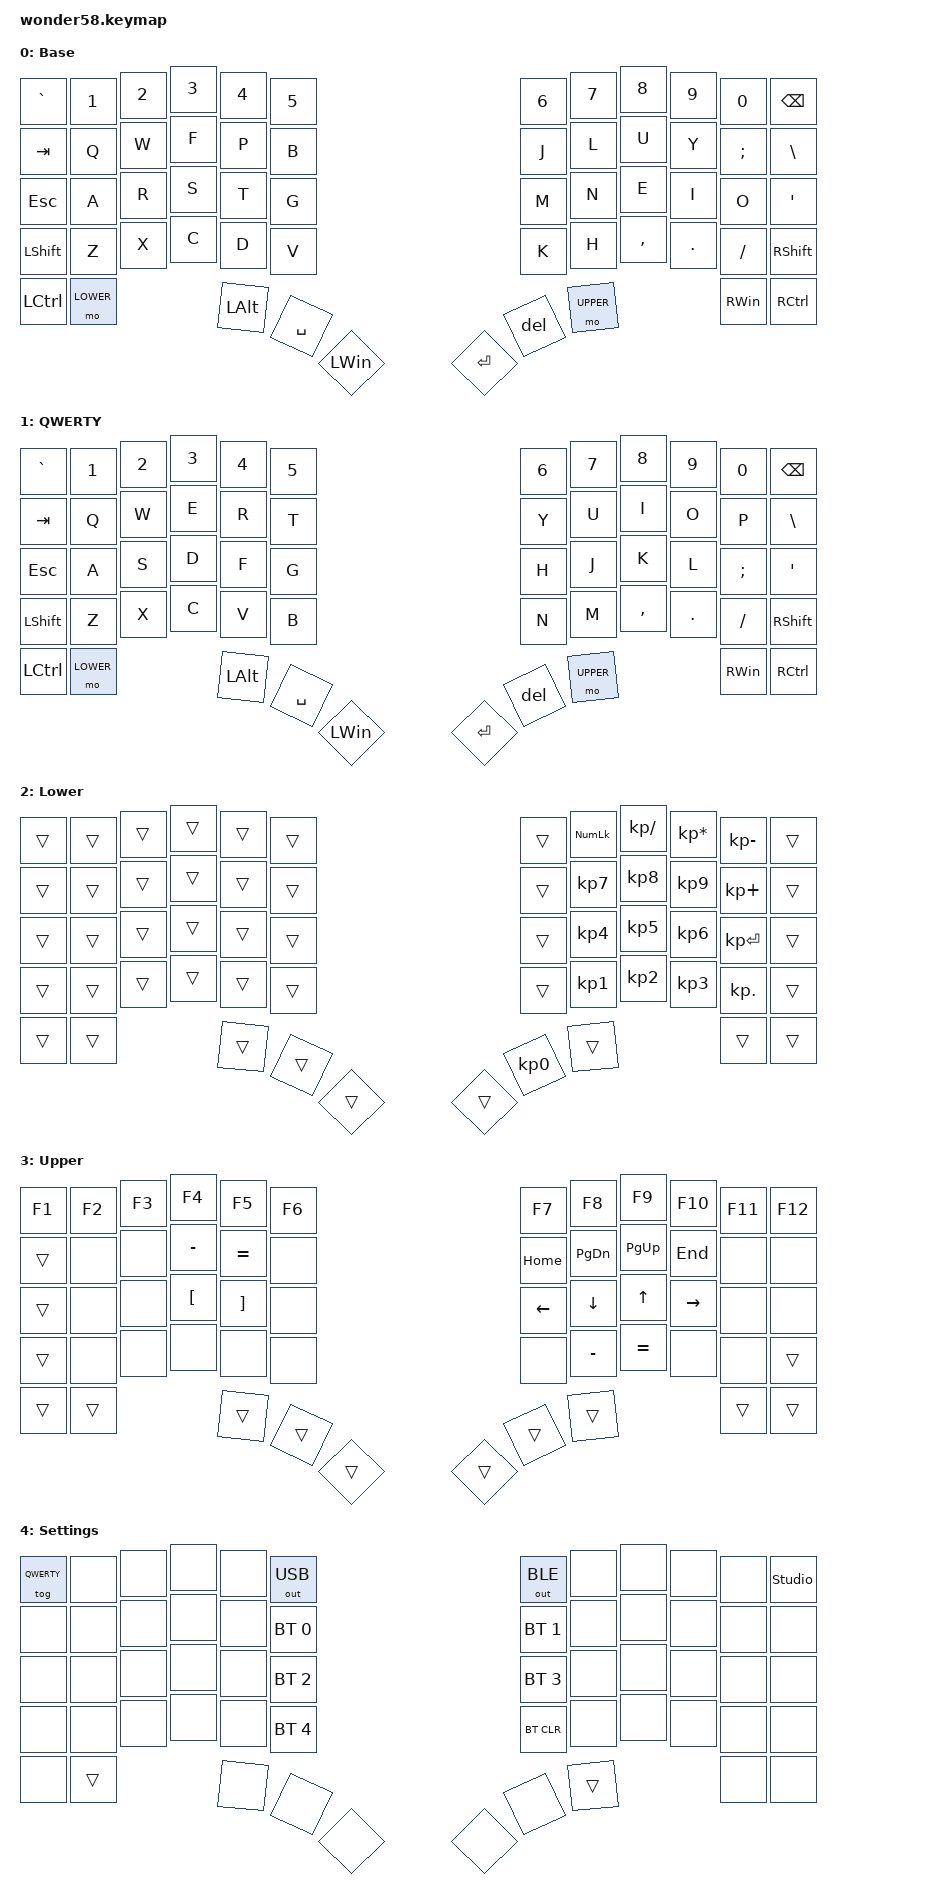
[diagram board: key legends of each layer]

#include <behaviors.dtsi>
#include <dt-bindings/zmk/keys.h>
#include <dt-bindings/zmk/bt.h>
#include <dt-bindings/zmk/ext_power.h>
#include <dt-bindings/zmk/outputs.h>

#define QWERTY 1
#define LOWER 2
#define UPPER 3
#define SETT 4

/ {
    behaviors {
        del: backspace_delete {
            compatible = "zmk,behavior-mod-morph";
            #binding-cells = <0>;
            bindings = <&kp BSPC>, <&kp DEL>;
            mods = <(MOD_LSFT|MOD_RSFT)>;
        };
    };
};

/ {
    keymap {
        compatible = "zmk,keymap";


        default_layer { // Layer 0
            display-name = "Base";
            bindings = <
                &kp GRAVE &kp N1 &kp N2 &kp N3   &kp N4    &kp N5       		&kp N6   &kp N7    &kp N8    &kp N9  &kp N0    &kp BSPC
                &kp TAB   &kp Q  &kp W  &kp F    &kp P     &kp B 				&kp J    &kp L     &kp U     &kp Y   &kp SEMI  &kp BSLH
                &kp ESC   &kp A  &kp R  &kp S    &kp T     &kp G   				&kp M    &kp N     &kp E     &kp I   &kp O     &kp APOS
                &kp LSHFT &kp Z  &kp X  &kp C    &kp D     &kp V 			    &kp K    &kp H     &kp COMMA &kp DOT &kp SLASH &kp RSHIFT
                &kp LCTRL &mo LOWER 		&kp LALT &kp SPACE &kp LWIN     &kp ENTER &del &mo UPPER 		         &kp RWIN  &kp RCTL
            >;
        };

        QWERTY {
            display-name = "QWERTY";
            bindings = <
                &kp GRAVE &kp N1 &kp N2 &kp N3   &kp N4    &kp N5       		&kp N6   &kp N7    &kp N8    &kp N9  &kp N0    &kp BSPC
                &kp TAB   &kp Q  &kp W  &kp E    &kp R     &kp T 				&kp Y    &kp U     &kp I     &kp O   &kp P     &kp BSLH
                &kp ESC   &kp A  &kp S  &kp D    &kp F     &kp G   				&kp H    &kp J     &kp K     &kp L   &kp SEMI  &kp APOS
                &kp LSHFT &kp Z  &kp X  &kp C    &kp V     &kp B 			    &kp N    &kp M     &kp COMMA &kp DOT &kp SLASH &kp RSHIFT
                &kp LCTRL &mo LOWER 		&kp LALT &kp SPACE &kp LWIN     &kp ENTER &del &mo UPPER 		         &kp RWIN  &kp RCTL
            >;
        };

        lower { 
            display-name = "Lower";
            bindings = <
                &trans  &trans  &trans  &trans  &trans  &trans          &trans  &kp KP_NUM &kp KP_SLASH  &kp KP_MULTIPLY &kp KP_MINUS &trans
                &trans  &trans  &trans  &trans  &trans  &trans          &trans  &kp KP_N7  &kp KP_N8     &kp KP_N9       &kp KP_PLUS  &trans  
                &trans  &trans  &trans  &trans  &trans  &trans          &trans  &kp KP_N4  &kp KP_N5     &kp KP_N6       &kp KP_ENTER &trans  
                &trans  &trans  &trans  &trans  &trans  &trans          &trans  &kp KP_N1  &kp KP_N2     &kp KP_N3       &kp KP_DOT   &trans  
                &trans  &trans          &trans  &trans  &trans          &trans  &kp KP_N0  &trans                        &trans       &trans  
            >;
        };

        upper { 
            display-name = "Upper";
            bindings = <
                &kp F1  &kp F2  &kp F3  &kp F4    &kp F5    &kp F6          &kp F7   &kp F8    &kp F9    &kp F10   &kp F11 &kp F12
                &trans  &none   &none   &kp MINUS &kp EQUAL &none           &kp HOME &kp PG_DN &kp PG_UP &kp END   &none   &none
                &trans  &none   &none   &kp LBKT  &kp RBKT  &none           &kp LEFT &kp DOWN  &kp UP    &kp RIGHT &none   &none
                &trans  &none   &none   &none     &none     &none           &none    &kp MINUS &kp EQUAL     &none     &none   &trans  
                &trans  &trans          &trans    &trans    &trans          &trans  &trans     &trans              &trans  &trans  
            >;
        };

        settings {
            display-name = "Settings";
            bindings = <
                &tog QWERTY  &none  &none  &none  &none  &out OUT_USB    &out OUT_BLE  &none  &none  &none  &none  &studio_unlock  
                &none        &none  &none  &none  &none  &bt BT_SEL 0    &bt BT_SEL 1  &none  &none  &none  &none  &none  
                &none        &none  &none  &none  &none  &bt BT_SEL 2    &bt BT_SEL 3  &none  &none  &none  &none  &none  
                &none        &none  &none  &none  &none  &bt BT_SEL 4    &bt BT_CLR  &none  &none  &none  &none  &none  
                &none        &trans          &none  &none  &none          &none  &none  &trans          &none  &none  
            >;
        };
    };
 };

    /*
     *  0    1   2   3   4   5       6   7   8   9  10  11
     * 12   13  14  15  16  17      18  19  20  21  22  23
     * 24   25  26  27  28  29      30  31  32  33  34  35
     * 36   37  38  39  40  41      42  43  44  45  46  47
     * 48   49      50  51  52      53  54  55      56  57
     */

 / {
    conditional_layers {
        compatible = "zmk,conditional-layers";
        tri_layer {
            if-layers = <LOWER UPPER>;
            then-layer = <SETT>;
        };
    };
};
